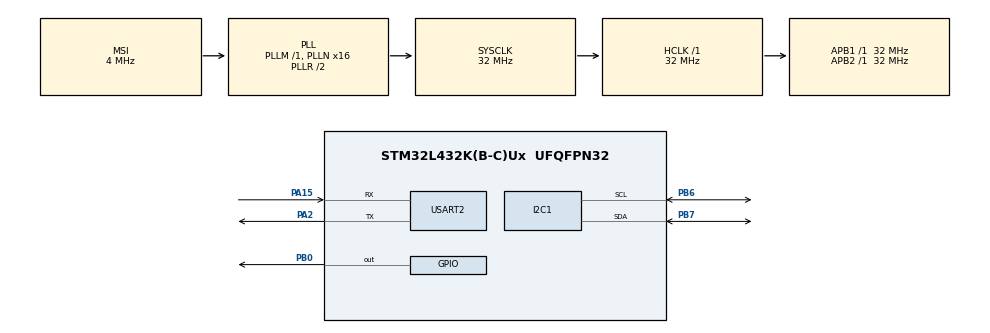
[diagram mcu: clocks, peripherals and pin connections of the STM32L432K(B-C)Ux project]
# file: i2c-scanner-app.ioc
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I2C1.Timing=0x00707CBB
Mcu.Family=STM32L4
Mcu.Name=STM32L432K(B-C)Ux
Mcu.Package=UFQFPN32
NVIC.PriorityGroup=NVIC_PRIORITYGROUP_4
PA15\ (JTDI).Mode=Asynchronous
PA15\ (JTDI).Signal=USART2_RX
PA2.Mode=Asynchronous
PA2.Signal=USART2_TX
PB0.Signal=GPIO_Output
PB3\ (JTDO-TRACESWO).Signal=SPI1_SCK
PB4\ (NJTRST).Signal=SPI1_MISO
PB5.Signal=SPI1_MOSI
PB6.Mode=I2C
PB6.Signal=I2C1_SCL
PB7.Mode=I2C
PB7.Signal=I2C1_SDA
ProjectManager.HeapSize=0x200
ProjectManager.StackSize=0x400
ProjectManager.TargetToolchain=STM32CubeIDE
RCC.ADCFreq_Value=32000000
RCC.AHBFreq_Value=32000000
RCC.APB1Freq_Value=32000000
RCC.APB1TimFreq_Value=32000000
RCC.APB2Freq_Value=32000000
RCC.APB2TimFreq_Value=32000000
RCC.CortexFreq_Value=32000000
RCC.HCLKFreq_Value=32000000
RCC.HSE_VALUE=8000000
RCC.HSI16_VALUE=16000000
RCC.HSI48_VALUE=48000000
RCC.HSI_VALUE=16000000
RCC.LSE_VALUE=32768
RCC.MSI_VALUE=4000000
RCC.PLLMUL=RCC_PLLMUL_4
RCC.PLLN=16
RCC.PLLSAI1N=16
RCC.SYSCLKFreq_VALUE=32000000
RCC.SYSCLKSource=RCC_SYSCLKSOURCE_PLLCLK
RCC.USBFreq_Value=32000000
RCC.VCOOutputFreq_Value=64000000
USART2.VirtualMode-Asynchronous=VM_ASYNC
board=NUCLEO-L432KC

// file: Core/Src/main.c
/* USER CODE BEGIN Header */

/** ***************************************************************************
 * Author: Christian Fibich <fibich@technikum-wien.at>
 *
 * Stadt Wien Kompetenzteam für Drohnentechnik in der Fachhochschulausbildung
 * Kompetenzfeld Embedded Systems
 * Fachhochschule Technikum Wien
 *
 * All rights reserved.
 *
 * Date: 29.1.2025
 *
 * BMI088 rudimentary bring-up code (via I2C).
 * Implements a complementary filter for orienation estimation.
 *
 ******************************************************************************/

/* USER CODE END Header */
#include "main.h"

/* USER CODE BEGIN Includes */

#include <stdio.h>
#include <stdarg.h>
#include <string.h>
#include <math.h>

/* USER CODE END Includes */

/* USER CODE BEGIN PTD */

struct imu_measurement {
	float acc[3];
	float gyr[3];
};

/* USER CODE END PTD */

/* USER CODE BEGIN PM */

/* attention: left shift included for HAL */

#define BMI088_GYROSCOPE_I2C_ADDR(x) ((0x68 | ((x) & 1)) << 1)
#define BMI088_ACCELEROMETER_I2C_ADDR(x) ((0x18 | ((x) & 1)) << 1)

#define BMI088_REG_ADDR_LEN 1

#define BMI088_REG_ACC_CHIP_ID                      0x00
#define BMI088_REG_ACC_CHIP_ID_VALUE                0x1E
#define BMI088_REG_ACC_ERR_REG                      0x02
#define BMI088_REG_ACC_STATUS                       0x03
#define BMI088_REG_ACC_DATA0                        0x12
#define BMI088_REG_ACC_CONF                         0x40
#define BMI088_REG_ACC_CONF_BWP_NORMAL              (0x0A << 4)
#define BMI088_REG_ACC_CONF_BWP_OSR2                (0x09 << 4)
#define BMI088_REG_ACC_CONF_BWP_OSR4                (0x08 << 4)
#define BMI088_REG_ACC_CONF_ODR_100Hz               (0x08)
#define BMI088_REG_ACC_CONF_ODR_200Hz               (0x09)
#define BMI088_REG_ACC_CONF_ODR_400Hz               (0x0A)
#define BMI088_REG_ACC_CONF_ODR_800Hz               (0x0B)
#define BMI088_REG_ACC_CONF_ODR_1600Hz              (0x0C)
#define BMI088_REG_ACC_RANGE                        0x41
#define BMI088_REG_ACC_RANGE_3G                     0x00
#define BMI088_REG_ACC_RANGE_6G                     0x01
#define BMI088_REG_ACC_RANGE_12G                    0x02
#define BMI088_REG_ACC_RANGE_24G                    0x03
#define BMI088_REG_ACC_PWR_CTRL                     0x7D
#define BMI088_REG_ACC_PWR_CTRL_ACCELEROMETER_ON    0x04
#define BMI088_REG_ACC_PWR_CONF                     0x7C
#define BMI088_REG_ACC_PWR_CONF_ACTIVE_MODE         0x00
#define BMI088_REG_ACC_INT1_IO_CONF                 0x53
#define BMI088_REG_ACC_INT1_IO_CONF_INPUT           (1<<4)
#define BMI088_REG_ACC_INT1_IO_CONF_OUTPUT          (1<<3)
#define BMI088_REG_ACC_INT1_IO_CONF_OD              (1<<2)
#define BMI088_REG_ACC_INT1_IO_CONF_ACTIVE_HIGH     (1<<1)
#define BMI088_REG_ACC_INT2_IO_CONF                 0x54
#define BMI088_REG_ACC_INT2_IO_CONF_INPUT           (1<<4)
#define BMI088_REG_ACC_INT2_IO_CONF_OUTPUT          (1<<3)
#define BMI088_REG_ACC_INT2_IO_CONF_OD              (1<<2)
#define BMI088_REG_ACC_INT2_IO_CONF_ACTIVE_HIGH     (1<<1)
#define BMI088_REG_ACC_INT1_INT2_MAP_DATA           0x58
#define BMI088_REG_ACC_INT1_INT2_MAP_DATA_INT1_DRDY (1<<2)

#define ACC_RANGE BMI088_REG_ACC_RANGE_24G

#define BMI088_REG_GYR_CHIP_ID              0x00
#define BMI088_REG_GYR_CHIP_VALUE           0x0F
#define BMI088_REG_GYR_GYRO_RANGE           0x0F
#define BMI088_REG_GYR_GYRO_RANGE_2000DPS   0x00
#define BMI088_REG_GYR_GYRO_BANDWIDTH       0x10
#define BMI088_REG_GYR_GYRO_BANDWIDTH_23Hz  0x04
#define BMI088_REG_GYR_GYRO_BANDWIDTH_47Hz  0x03
#define BMI088_REG_GYR_GYRO_BANDWIDTH_116Hz 0x02
#define BMI088_REG_GYR_DATA0                0x02
#define BMI088_REG_GYR_INT3_INT4_IO_CONF    0x16
#define BMI088_REG_GYR_INT3_INT4_IO_CONF_INT3_OD          (1<<1)
#define BMI088_REG_GYR_INT3_INT4_IO_CONF_INT3_ACTIVE_HIGH (1<<0)
#define BMI088_REG_GYR_INT3_INT4_IO_MAP     0x18
#define BMI088_REG_GYR_INT3_INT4_IO_MAP_INT3  0x01
#define BMI088_REG_GYR_INT_CTRL             0x15
#define BMI088_REG_GYR_INT_CTRL_ON          0x80

/* USER CODE END PM */

I2C_HandleTypeDef hi2c1;

UART_HandleTypeDef huart2;

void SystemClock_Config(void);
static void MX_GPIO_Init(void);
static void MX_USART2_UART_Init(void);
static void MX_I2C1_Init(void);

/* USER CODE BEGIN 0 */

void huart2_printf(const char *format, ...) {
	static char linebuf[1024];
	va_list args;
	va_start(args, format);
	int n = vsnprintf(linebuf, 1024, format, args);
	HAL_UART_Transmit(&huart2, (uint8_t*) linebuf, n, HAL_MAX_DELAY);
	va_end(args);
}

int huart2_fgets(char *buf, int len) {
	HAL_UART_AbortReceive(&huart2);
	while (len > 1) {
		HAL_UART_Receive(&huart2, (uint8_t*) buf, 1, HAL_MAX_DELAY);
		HAL_UART_Transmit(&huart2, (uint8_t*) buf, 1, HAL_MAX_DELAY);
		if (*buf == '\r') {
			break;
		}
		buf++;
		len--;
	}
	buf[1] = '\0';
	return (len == 0) ? -1 : 0;
}

float get_dt(void) {
	static uint32_t last_tick = 0;
	uint32_t current_tick = HAL_GetTick();
	float dt = 0;

	if (current_tick < last_tick) {
		dt = ((0xffffffff-last_tick)+current_tick)/1000.0;
	} else {
		dt = (current_tick-last_tick)/1000.0;
	}
	last_tick = current_tick;

	return dt;
}

/* USER CODE END 0 */

int main(void) {

	/* MCU Configuration--------------------------------------------------------*/

	/* Reset of all peripherals, Initializes the Flash interface and the Systick. */
	HAL_Init();

	/* Configure the system clock */
	SystemClock_Config();

	/* Initialize all configured peripherals */
	MX_GPIO_Init();
	MX_USART2_UART_Init();
	MX_I2C1_Init();

	/* Infinite loop */
	/* USER CODE BEGIN WHILE */

	/* identify BMI088 by searching address space*/

	int ai = 0;
	int gi = 0;
	int rv_acc = 1;
	int rv_gyr = 1;
	uint8_t acc_chip_id = 0;
	uint8_t gyr_chip_id = 0;

	HAL_Delay(1); // Datasheet PG 13

	for (ai = 0; ai <= 1; ai++) {

		rv_acc = HAL_I2C_Mem_Read(&hi2c1, BMI088_ACCELEROMETER_I2C_ADDR(ai),
				BMI088_REG_ACC_CHIP_ID, BMI088_REG_ADDR_LEN, &acc_chip_id, 1, HAL_MAX_DELAY);
		if (!rv_acc && acc_chip_id == BMI088_REG_ACC_CHIP_ID_VALUE) break;
	}

    for (gi = 0; gi <= 1; gi++) {
	    rv_gyr = HAL_I2C_Mem_Read(&hi2c1, BMI088_GYROSCOPE_I2C_ADDR(gi),
			BMI088_REG_GYR_CHIP_ID, BMI088_REG_ADDR_LEN, &gyr_chip_id, 1, HAL_MAX_DELAY);
	    if (!rv_gyr && gyr_chip_id == BMI088_REG_GYR_CHIP_VALUE) break;
    }

	int gci = gyr_chip_id;
	int aci = acc_chip_id;

	huart2_printf("ACC: %02x (%d)\r\n",aci,rv_acc);
	huart2_printf("GYR: %02x (%d)\r\n",gci,rv_gyr);

	if (rv_acc || (acc_chip_id != BMI088_REG_ACC_CHIP_ID_VALUE)) {
		huart2_printf("I2C accelerometer not present.\r\n");
		return -1;
	}

	if (rv_gyr || (gyr_chip_id != BMI088_REG_GYR_CHIP_VALUE)) {
		huart2_printf("I2C gyroscope not present.\r\n");
		return -1;
	}

	huart2_printf("BMI088 found: GYR=%d (%02x) ACC=%d (%02x)\r\n", rv_gyr, gci,
			rv_acc, aci);

	/* initialize BMI088 */

	/* enable accel */

	uint8_t data = BMI088_REG_ACC_PWR_CTRL_ACCELEROMETER_ON;
	rv_acc = HAL_I2C_Mem_Write(&hi2c1, BMI088_ACCELEROMETER_I2C_ADDR(ai),
			BMI088_REG_ACC_PWR_CTRL, BMI088_REG_ADDR_LEN, &data, sizeof(data), HAL_MAX_DELAY);

	HAL_Delay(50); // Datasheet PG 13

	data = BMI088_REG_ACC_PWR_CONF_ACTIVE_MODE;
	rv_acc = HAL_I2C_Mem_Write(&hi2c1, BMI088_ACCELEROMETER_I2C_ADDR(ai),
			BMI088_REG_ACC_PWR_CONF, BMI088_REG_ADDR_LEN, &data, sizeof(data), HAL_MAX_DELAY);

	data = ACC_RANGE;
	rv_acc |= HAL_I2C_Mem_Write(&hi2c1, BMI088_ACCELEROMETER_I2C_ADDR(ai),
			BMI088_REG_ACC_RANGE, BMI088_REG_ADDR_LEN, &data, sizeof(data), HAL_MAX_DELAY);

	/* configure accel filter to normal mode and output rate to 100 Hz and LPF to normal mode */

	data = BMI088_REG_ACC_CONF_BWP_NORMAL | BMI088_REG_ACC_CONF_ODR_100Hz;
	rv_acc |= HAL_I2C_Mem_Write(&hi2c1, BMI088_ACCELEROMETER_I2C_ADDR(ai),
			BMI088_REG_ACC_CONF, BMI088_REG_ADDR_LEN,  &data, sizeof(data), HAL_MAX_DELAY);

	/* IO1 inactive */
	data = 0;
	rv_acc |= HAL_I2C_Mem_Write(&hi2c1, BMI088_ACCELEROMETER_I2C_ADDR(ai),
			BMI088_REG_ACC_INT1_IO_CONF, BMI088_REG_ADDR_LEN,  &data, sizeof(data), HAL_MAX_DELAY);

	/* IO2 inactive */
	data = 0;
	rv_acc |= HAL_I2C_Mem_Write(&hi2c1, BMI088_ACCELEROMETER_I2C_ADDR(ai),
			BMI088_REG_ACC_INT2_IO_CONF, BMI088_REG_ADDR_LEN,  &data, sizeof(data), HAL_MAX_DELAY);

	/* map_data */
	data = BMI088_REG_ACC_INT1_INT2_MAP_DATA_INT1_DRDY;
	rv_acc |= HAL_I2C_Mem_Write(&hi2c1, BMI088_ACCELEROMETER_I2C_ADDR(ai),
			BMI088_REG_ACC_INT2_IO_CONF, BMI088_REG_ADDR_LEN,  &data, sizeof(data), HAL_MAX_DELAY);

	/* configure gyro range to 2000 DPS */

	data = BMI088_REG_GYR_GYRO_RANGE_2000DPS;
	rv_gyr = HAL_I2C_Mem_Write(&hi2c1, BMI088_GYROSCOPE_I2C_ADDR(gi),
			BMI088_REG_GYR_GYRO_RANGE, BMI088_REG_ADDR_LEN,  &data, sizeof(data), HAL_MAX_DELAY);

	/* configure gyro bandwidth to 1000 Hz (116 Hz filter bandwidth) */

	data = BMI088_REG_GYR_GYRO_BANDWIDTH_47Hz;
	rv_gyr |= HAL_I2C_Mem_Write(&hi2c1, BMI088_GYROSCOPE_I2C_ADDR(gi),
			BMI088_REG_GYR_GYRO_BANDWIDTH, BMI088_REG_ADDR_LEN,  &data, sizeof(data), HAL_MAX_DELAY);

	/* IO3 inactive */
	data = 0;
	rv_gyr |= HAL_I2C_Mem_Write(&hi2c1, BMI088_GYROSCOPE_I2C_ADDR(gi),
			BMI088_REG_GYR_INT3_INT4_IO_CONF,  BMI088_REG_ADDR_LEN, &data, sizeof(data), HAL_MAX_DELAY);

	/* IO3 map */
	data = BMI088_REG_GYR_INT3_INT4_IO_MAP_INT3;
	rv_gyr |= HAL_I2C_Mem_Write(&hi2c1, BMI088_GYROSCOPE_I2C_ADDR(gi),
			BMI088_REG_GYR_INT3_INT4_IO_MAP, BMI088_REG_ADDR_LEN,  &data, sizeof(data), HAL_MAX_DELAY);

	/* int off */
	data = 0;
	rv_gyr |= HAL_I2C_Mem_Write(&hi2c1, BMI088_GYROSCOPE_I2C_ADDR(gi),
			BMI088_REG_GYR_INT_CTRL,  BMI088_REG_ADDR_LEN, &data, sizeof(data), HAL_MAX_DELAY);

	if (rv_acc) {
		huart2_printf("I2C accelerometer could not be configured.\r\n");
		return -1;
	}

	if (rv_gyr) {
		huart2_printf("I2C accelerometer could not be configured.\r\n");
		return -1;
	}
#if 0
	do {
		huart2_printf("Start reading BMI088 [yN]?\r\n");
		int rv = huart2_fgets(inbuf, 1024);
		if (rv)
			continue;
	} while (strcmp(inbuf, "y\r"));
#endif

	static struct imu_measurement imu_value = { 0 };

	/* vectors for sensor fusion */
	float theta_ax;
	float theta_ay;

	float theta_gx = 0;
	float theta_gy = 0;
	float theta_gz = 0;

	float theta_x = 0;
	float theta_y = 0;
	float theta_z = 0;

	/* data buffer for low pass filter */
	float _ax[4];
	float _ay[4];
	float _az[4];

	/* parameters for sensor fusion */
	float dt;   /* sample rate (roughly) */
	float alpha = 0.25 /* i.e., 75% accelerometer -- 25% gyro */;

	while (1) {

		int16_t gyro_raw[3];
		int16_t acc_raw[3];

		/* get measured raw data */
		int rv_gyr = HAL_I2C_Mem_Read(&hi2c1, BMI088_GYROSCOPE_I2C_ADDR(gi),
				BMI088_REG_GYR_DATA0,  BMI088_REG_ADDR_LEN, (uint8_t *)(&gyro_raw), sizeof(gyro_raw), 100);
		int rv_acc = HAL_I2C_Mem_Read(&hi2c1, BMI088_ACCELEROMETER_I2C_ADDR(ai),
				BMI088_REG_ACC_DATA0,  BMI088_REG_ADDR_LEN, (uint8_t *)(&acc_raw), sizeof(acc_raw), 100);

		/* scale data according to settings */
		for (int i = 0; i < 3; i++) {
			if (!rv_acc) {
				imu_value.acc[i] = acc_raw[i] / 32768.0 * 1.5
						* (1 << (ACC_RANGE + 1));
			}
			if (!rv_gyr) {
				imu_value.gyr[i] = 2000.0 * gyro_raw[i] / 32767.0;
			}
		}

		/* calculate if we have measurements */
		if (!rv_acc && !rv_gyr) {

		    /* Implement sensor fusion using a complementary filter.
		     *
		     * This means:
		     * (1) low-pass filter the accelerometer data
		     * (2) high-pass filter the gyro data (not implemented)
		     * (3) calculate the accelerometer angle via trigonometry
		     * (4) integrate the gyro data to get the orientation estimate from the gyro
		     * (5) weighted average of the two estimates according to alpha factor
		     *
		     * See https://ahrs.readthedocs.io/en/latest/filters/complementary.html */

			/* get time delay of current and last measurement */
			dt = get_dt();

		    /*
		     * (1) Implement moving average LPF for accelerometer; potential for future FIR filter
		     */

		    /* shift the buffer down */
		    memmove(_ax+1,_ax,sizeof(_ax)-sizeof(_ax[0]));
		    memmove(_ay+1,_ay,sizeof(_ay)-sizeof(_ay[0]));
		    memmove(_az+1,_az,sizeof(_az)-sizeof(_az[0]));

		    /* shift in the current measurment */
		    _ax[0] = imu_value.acc[0], _ay[0] = imu_value.acc[1], _az[0] = imu_value.acc[2];

		    /* calculate the dot product of the buffer and the coefficient vector
		     * as the measurements */

		    /* just use a 1/n coefficient for now (moving average) */
		    float coeff = 1.0/((float)(sizeof(_ax))/sizeof(_ax[0]));

		    float ax = 0;
		    float ay = 0;
		    float az = 0;

		    for (int i = 0; i < sizeof(_ax)/sizeof(_ax[0]); i++) {
		    	ax += _ax[i] * coeff;
		    }
		    for (int i = 0; i < sizeof(_ay)/sizeof(_ay[0]); i++) {
		    	ay += _ay[i] * coeff;
		    }
		    for (int i = 0; i < sizeof(_az)/sizeof(_az[0]); i++) {
		    	az += _az[i] * coeff;
		    }

		    /*
		     * (2) scale the Gyro measurements from DPS to rad/s
		     */
		    float gx = imu_value.gyr[0]/180.0*M_PI;
		    float gy = imu_value.gyr[1]/180.0*M_PI;
		    float gz = imu_value.gyr[2]/180.0*M_PI;

		    /*
		     * (3) calculate the accelerometer angle via trigonometry
		     */
		    theta_ax  = atan2f(ay, az);
		    theta_ay  = atan2f(-ax,sqrtf(ay*ay+az*az));

		    /*
		     * (4) calculate the gyroscope angle via integration of the angular velocity
		     */

		    theta_gx += gx * dt;
		    theta_gy += gy * dt;
		    theta_gz += gz * dt;

		    /* if the drift gets too bad, reset the gyro contribution
		     * can only do this for roll and pitch, not for yaw as we have no mag. */
		    if (fabs(theta_gx-theta_ax) > M_PI/32) {
		    	theta_gx = theta_ax;
		    }
		    if (fabs(theta_gy-theta_ay) > M_PI/32) {
		    	theta_gy = theta_ay;
		    }

		    /*
		     * (5) average the two measurments
		     */
		    theta_x = alpha * theta_gx + (1-alpha) * theta_ax;
		    theta_y = alpha * theta_gy + (1-alpha) * theta_ay;
		    theta_z = theta_gz;

		    /* align to orientation of click shield (USB connector points backwards) */
		    float roll = -theta_y;
		    float pitch = theta_x;
		    float yaw   = theta_z;

		    /* output the measurments */
		    huart2_printf("ROLL=%5.2f PITCH=%5.2f YAW=%5.2f\r\n",roll*180.0/M_PI,pitch*180.0/M_PI,yaw*180.0/M_PI);
		    HAL_Delay(20);
		}
		/* USER CODE END WHILE */

	}
}

void SystemClock_Config(void) {
	RCC_OscInitTypeDef RCC_OscInitStruct = { 0 };
	RCC_ClkInitTypeDef RCC_ClkInitStruct = { 0 };

	/** Configure the main internal regulator output voltage
	 */
	if (HAL_PWREx_ControlVoltageScaling(PWR_REGULATOR_VOLTAGE_SCALE1)
			!= HAL_OK) {
		Error_Handler();
	}

	/** Initializes the RCC Oscillators according to the specified parameters
	 * in the RCC_OscInitTypeDef structure.
	 */
	RCC_OscInitStruct.OscillatorType = RCC_OSCILLATORTYPE_MSI;
	RCC_OscInitStruct.MSIState = RCC_MSI_ON;
	RCC_OscInitStruct.MSICalibrationValue = 0;
	RCC_OscInitStruct.MSIClockRange = RCC_MSIRANGE_6;
	RCC_OscInitStruct.PLL.PLLState = RCC_PLL_ON;
	RCC_OscInitStruct.PLL.PLLSource = RCC_PLLSOURCE_MSI;
	RCC_OscInitStruct.PLL.PLLM = 1;
	RCC_OscInitStruct.PLL.PLLN = 16;
	RCC_OscInitStruct.PLL.PLLP = RCC_PLLP_DIV7;
	RCC_OscInitStruct.PLL.PLLQ = RCC_PLLQ_DIV2;
	RCC_OscInitStruct.PLL.PLLR = RCC_PLLR_DIV2;
	if (HAL_RCC_OscConfig(&RCC_OscInitStruct) != HAL_OK) {
		Error_Handler();
	}

	/** Initializes the CPU, AHB and APB buses clocks
	 */
	RCC_ClkInitStruct.ClockType = RCC_CLOCKTYPE_HCLK | RCC_CLOCKTYPE_SYSCLK
			| RCC_CLOCKTYPE_PCLK1 | RCC_CLOCKTYPE_PCLK2;
	RCC_ClkInitStruct.SYSCLKSource = RCC_SYSCLKSOURCE_PLLCLK;
	RCC_ClkInitStruct.AHBCLKDivider = RCC_SYSCLK_DIV1;
	RCC_ClkInitStruct.APB1CLKDivider = RCC_HCLK_DIV1;
	RCC_ClkInitStruct.APB2CLKDivider = RCC_HCLK_DIV1;

	if (HAL_RCC_ClockConfig(&RCC_ClkInitStruct, FLASH_LATENCY_1) != HAL_OK) {
		Error_Handler();
	}
}

static void MX_I2C1_Init(void) {

	hi2c1.Instance = I2C1;
	hi2c1.Init.Timing = 0x00707CBB;
	hi2c1.Init.OwnAddress1 = 0;
	hi2c1.Init.AddressingMode = I2C_ADDRESSINGMODE_7BIT;
	hi2c1.Init.DualAddressMode = I2C_DUALADDRESS_DISABLE;
	hi2c1.Init.OwnAddress2 = 0;
	hi2c1.Init.OwnAddress2Masks = I2C_OA2_NOMASK;
	hi2c1.Init.GeneralCallMode = I2C_GENERALCALL_DISABLE;
	hi2c1.Init.NoStretchMode = I2C_NOSTRETCH_DISABLE;
	if (HAL_I2C_Init(&hi2c1) != HAL_OK) {
		Error_Handler();
	}

	/** Configure Analogue filter
	 */
	if (HAL_I2CEx_ConfigAnalogFilter(&hi2c1, I2C_ANALOGFILTER_ENABLE)
			!= HAL_OK) {
		Error_Handler();
	}

	/** Configure Digital filter
	 */
	if (HAL_I2CEx_ConfigDigitalFilter(&hi2c1, 0) != HAL_OK) {
		Error_Handler();
	}

}

static void MX_USART2_UART_Init(void) {

	huart2.Instance = USART2;
	huart2.Init.BaudRate = 115200;
	huart2.Init.WordLength = UART_WORDLENGTH_8B;
	huart2.Init.StopBits = UART_STOPBITS_1;
	huart2.Init.Parity = UART_PARITY_NONE;
	huart2.Init.Mode = UART_MODE_TX_RX;
	huart2.Init.HwFlowCtl = UART_HWCONTROL_NONE;
	huart2.Init.OverSampling = UART_OVERSAMPLING_16;
	huart2.Init.OneBitSampling = UART_ONE_BIT_SAMPLE_DISABLE;
	huart2.AdvancedInit.AdvFeatureInit = UART_ADVFEATURE_NO_INIT;
	if (HAL_UART_Init(&huart2) != HAL_OK) {
		Error_Handler();
	}

}

static void MX_GPIO_Init(void) {
	GPIO_InitTypeDef GPIO_InitStruct = { 0 };

	/* GPIO Ports Clock Enable */
	__HAL_RCC_GPIOA_CLK_ENABLE();
	__HAL_RCC_GPIOB_CLK_ENABLE();

	/*Configure GPIO pin Output Level */
	HAL_GPIO_WritePin(GPIOB, GPIO_PIN_0, GPIO_PIN_RESET);

	/*Configure GPIO pin : PB0 */
	GPIO_InitStruct.Pin = GPIO_PIN_0;
	GPIO_InitStruct.Mode = GPIO_MODE_OUTPUT_PP;
	GPIO_InitStruct.Pull = GPIO_NOPULL;
	GPIO_InitStruct.Speed = GPIO_SPEED_FREQ_LOW;
	HAL_GPIO_Init(GPIOB, &GPIO_InitStruct);

	/*Configure GPIO pins : PB3 PB4 PB5 */
	GPIO_InitStruct.Pin = GPIO_PIN_3 | GPIO_PIN_4 | GPIO_PIN_5;
	GPIO_InitStruct.Mode = GPIO_MODE_AF_PP;
	GPIO_InitStruct.Pull = GPIO_NOPULL;
	GPIO_InitStruct.Speed = GPIO_SPEED_FREQ_VERY_HIGH;
	GPIO_InitStruct.Alternate = GPIO_AF5_SPI1;
	HAL_GPIO_Init(GPIOB, &GPIO_InitStruct);

}

void Error_Handler(void) {
	__disable_irq();
	while (1) {
	}
}
